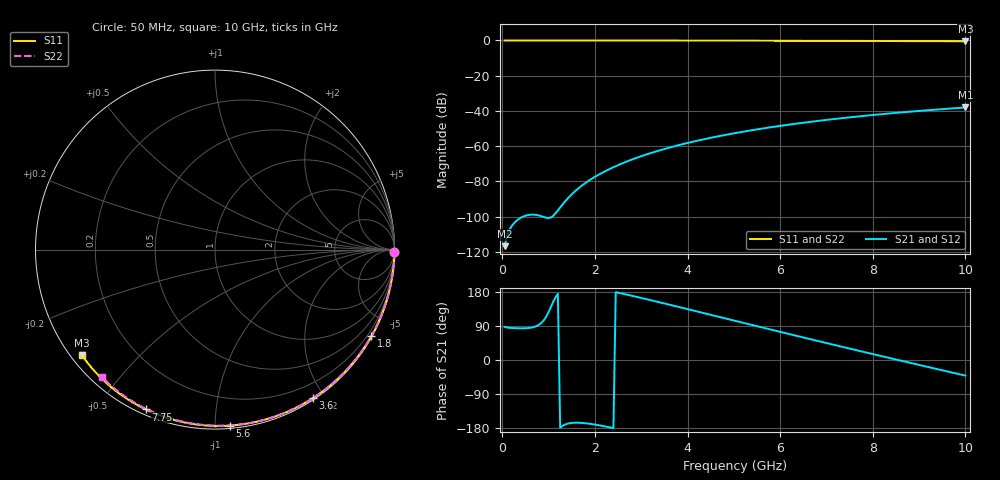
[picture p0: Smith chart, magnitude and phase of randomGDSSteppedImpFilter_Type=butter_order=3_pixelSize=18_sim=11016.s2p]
! freq	dB(S11)	phase(S11)	dB(S12)	phase(S12)
!  dB(S21)	phase(S21)	dB(S22)	phase(S22)
!S-par simulation data
#  GHz  S  DB  R 50
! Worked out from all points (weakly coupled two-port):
!   200 points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, 50 MHz to 10 GHz, reference 50 ohm
!   highest |S21| = -38.03 dB at 10 GHz (marker M1); lowest = -116.7 dB at 50 MHz (marker M2)
!   lowest |S11| = -0.5 dB at 10 GHz (marker M3), VSWR 36.42, Z = 1.54 - j17.4 ohm
!   |S11| at or under -10 dB: nowhere
!   |S22| runs from -0.4 to 0.0 dB; largest |S21 - S12| = 0
!   S11 on the Smith chart (normalised r, x): 50 MHz: open; 1.8 GHz: 0.03, -3.86; 3.6 GHz: 0.02, -1.86; 5.6 GHz: 0.02, -1.09; 7.75 GHz: 0.02, -0.66; 10 GHz: 0.03, -0.35
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0.05  -0.00 -0.8  -116.74 87.4  -116.74 87.4  -0.00 -0.8
0.45  -0.01 -7.4  -99.95 83.6  -99.95 83.6  -0.01 -6.8
0.9  -0.02 -14.6  -100.23 105.5  -100.23 105.5  -0.02 -13.6
1.75  -0.04 -28.2  -81.75 -166.4  -81.75 -166.4  -0.03 -26.2
1.8  -0.04 -29.0  -80.80 -167.0  -80.80 -167.0  -0.03 -27.0
1.85  -0.04 -29.8  -79.90 -167.7  -79.90 -167.7  -0.04 -27.7
2  -0.04 -32.2  -77.41 -170.4  -77.41 -170.4  -0.04 -29.9
2.15  -0.04 -34.5  -75.19 -173.6  -75.19 -173.6  -0.04 -32.1
2.35  -0.05 -37.6  -72.55 -178.4  -72.55 -178.4  -0.04 -35.0
2.55  -0.05 -40.7  -70.18 176.3  -70.18 176.3  -0.05 -37.9
2.95  -0.06 -46.9  -66.14 165.2  -66.14 165.2  -0.06 -43.6
3.4  -0.07 -53.7  -62.35 152.2  -62.35 152.2  -0.07 -49.9
3.6  -0.08 -56.6  -60.86 146.2  -60.86 146.2  -0.07 -52.7
4.3  -0.09 -66.9  -56.37 125.3  -56.37 125.3  -0.09 -62.3
5.05  -0.12 -77.6  -52.47 102.7  -52.47 102.7  -0.11 -72.2
5.6  -0.14 -85.2  -50.05 86.2  -50.05 86.2  -0.13 -79.4
6.15  -0.16 -92.6  -47.92 69.8  -47.92 69.8  -0.15 -86.3
6.7  -0.19 -99.9  -46.03 53.5  -46.03 53.5  -0.18 -93.1
7.75  -0.26 -113.4  -42.95 22.8  -42.95 22.8  -0.24 -105.7
8.35  -0.31 -121.0  -41.44 5.5  -41.44 5.5  -0.29 -112.7
9.2  -0.39 -131.7  -39.57 -18.6  -39.57 -18.6  -0.36 -122.4
10  -0.48 -141.7  -38.03 -41.2  -38.03 -41.2  -0.44 -131.5
